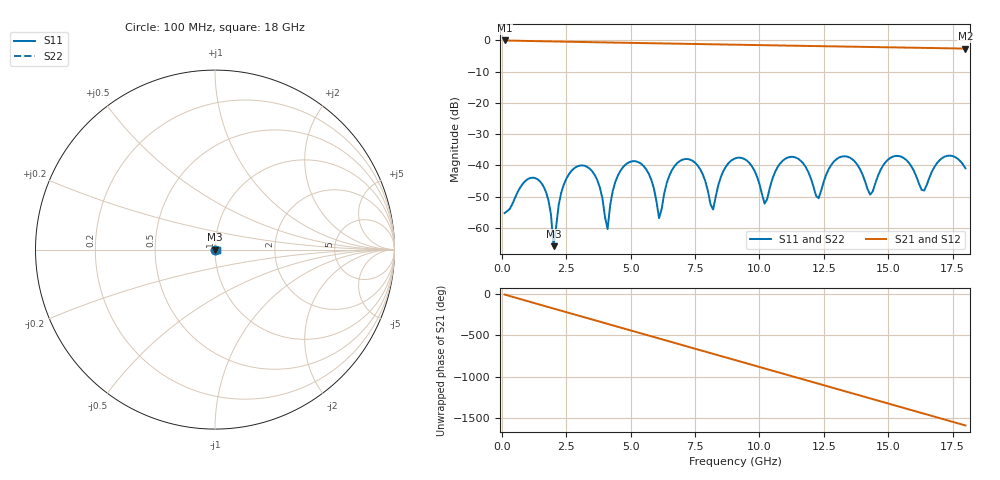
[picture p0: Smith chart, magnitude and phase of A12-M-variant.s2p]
! yapnr rf coupon A: A12 M (variant, family M)
! stackup JLC04161H-7628, nominal parameters; reference planes 10 mm from each end; 50 ohm (renormalized from the line's Zc)
! model: 2D quasi-static RLGC (Djordjevic-Sarkar, Huray roughness, Wheeler loss); generated by python -m yapnr.rf.coupons expected
# GHz S DB R 50
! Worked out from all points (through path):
!   180 points, 100 MHz to 18 GHz, reference 50 ohm
!   highest |S21| = -0.04 dB at 100 MHz (marker M1); lowest = -2.6 dB at 18 GHz (marker M2)
!   group delay of S21, straight-line fit = 244 ps
!   lowest |S11| = -65.9 dB at 2 GHz (marker M3), VSWR 1.00, Z = 50 - j0.0176 ohm
!   |S11| at or under -10 dB: start of sweep to end of sweep
!   |S22| runs from -65.9 to -36.9 dB; largest |S21 - S12| = 0
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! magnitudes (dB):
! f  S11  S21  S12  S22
! 100 MHz  -55.3  0.0  0.0  -55.3
! 1.4 GHz  -44.6  -0.3  -0.3  -44.6
! 1.8 GHz  -51.1  -0.3  -0.3  -51.1
! 2 GHz  -65.9  -0.4  -0.4  -65.9
! 2.4 GHz  -46.1  -0.4  -0.4  -46.1
! 3.1 GHz  -40.0  -0.5  -0.5  -40.0
! 4.1 GHz  -60.4  -0.7  -0.7  -60.4
! 4.4 GHz  -45.3  -0.7  -0.7  -45.3
! 5 GHz  -38.8  -0.8  -0.8  -38.8
! 5.7 GHz  -42.7  -0.9  -0.9  -42.7
! 6.1 GHz  -56.9  -1.0  -1.0  -56.9
! 6.9 GHz  -38.7  -1.1  -1.1  -38.7
! 8.2 GHz  -54.1  -1.3  -1.3  -54.1
! 9.1 GHz  -37.6  -1.4  -1.4  -37.6
! 10.2 GHz  -52.2  -1.6  -1.6  -52.2
! 11.1 GHz  -37.5  -1.7  -1.7  -37.5
! 12.1 GHz  -46.9  -1.8  -1.8  -46.9
! 13.4 GHz  -37.2  -2.0  -2.0  -37.2
! 14.3 GHz  -49.4  -2.1  -2.1  -49.4
! 15.1 GHz  -37.5  -2.2  -2.2  -37.5
! 16.4 GHz  -48.0  -2.4  -2.4  -48.0
! 18 GHz  -41.0  -2.6  -2.6  -41.0
